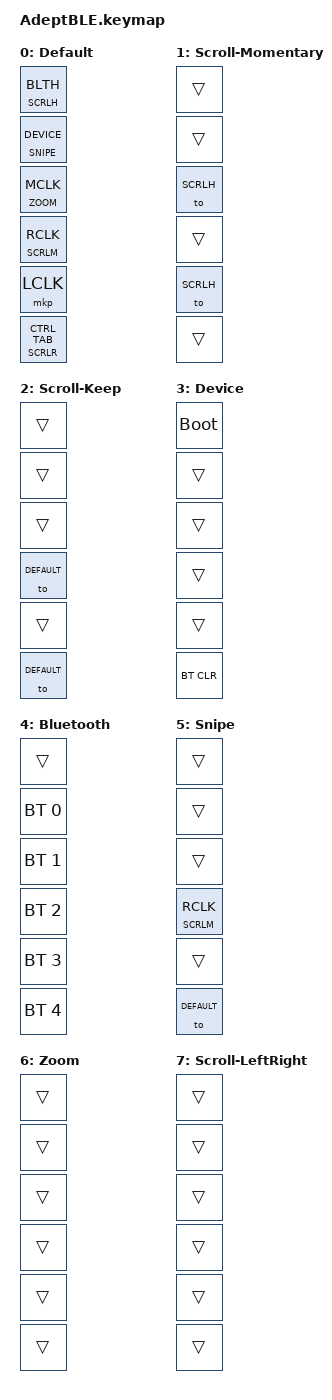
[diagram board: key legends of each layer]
#include <behaviors.dtsi>
#include <dt-bindings/zmk/bt.h>
#include <dt-bindings/zmk/keys.h>
#include <dt-bindings/zmk/pointing.h>
#include <dt-bindings/zmk/outputs.h>

// #include <dt-bindings/zmk/mouse.h>

#define DEFAULT 0
#define SCRLM 1
#define SCRLH 2
#define DEVICE 3
#define BLTH 4
#define SNIPE 5
#define ZOOM 6
#define SCRLR 7

/ {
  combos {
    compatible = "zmk,combos";
    combo_esc {
      timeout-ms = <50>;
      key-positions = <2 3>;
      bindings = <&mkp RCLK>;
    };
  };
  behaviors {
    ltm: layer-tap-momentary {
      compatible = "zmk,behavior-hold-tap";
      #binding-cells = <2>;
      flavor = "tap-preferred";
      tapping-term-ms = <200>;
      bindings = <&mo>, <&mkp>;
    };
    lth: layer-tap-hold-while-undecided {
      compatible = "zmk,behavior-hold-tap";
      #binding-cells = <2>;
      flavor = "hold-preferred";
      hold-while-undecided;
      tapping-term-ms = <150>;
      bindings = <&mo>, <&mkp>;
    };
    mto: momentary-or-toggle {
      compatible = "zmk,behavior-hold-tap";
      #binding-cells = <2>;
      flavor = "hold-preferred";
      hold-while-undecided;
      tapping-term-ms = <200>;
      bindings = <&mo>, <&to>;
    };
  };
  keymap {
    compatible = "zmk,keymap";
    default_layer {
      display-name = "Default";
      bindings = <
        &mto SCRLH BLTH      // Top-left: Tap=Scroll-Hold, Hold=Bluetooth layer
        &mto SNIPE DEVICE    // Top-middle-left: Tap=SNIPE/DPI, Hold=Device layer
        &lth ZOOM MCLK       // Middle-right: Tap=Middle Click, Hold=Zoom layer
        &lth SCRLM RCLK      // Top-right: Tap=Right Click, Hold=Scroll-Momentary
        &mkp LCLK            // Bottom-left: Left Click (normal)
        &lth SCRLR CTRL_TAB  // Bottom-right: Tap=CTRL+TAB, Hold=Scroll Left/Right layer
      >;
    };
    scroll_tap_layer {
      display-name = "Scroll-Momentary";
      bindings = <
        &trans &trans &to SCRLH &trans
        &to SCRLH               &trans
      >;
    };
    scroll_hold_layer {
      display-name = "Scroll-Keep";
      bindings = <
        &trans &trans &trans &to DEFAULT
        &trans               &to DEFAULT
      >;
    };
    device_layer {
      display-name = "Device";
      bindings = <
        &bootloader &trans &trans &trans
        &trans                    &bt BT_CLR
      >;
    };
    bluetooth_layer {
      display-name = "Bluetooth";
      bindings = <
        &trans &bt BT_SEL 0 &bt BT_SEL 1 &bt BT_SEL 2
        &bt BT_SEL 3                     &bt BT_SEL 4
      >;
    };
    snipe_layer {
      display-name = "Snipe";
      bindings = <
        &trans &trans &trans &lth SCRLM RCLK
        &trans               &to DEFAULT
      >;
    };
    zoom_layer {
      display-name = "Zoom";
      bindings = <
        &trans &trans &trans &trans
        &trans &trans
      >;
      // Configure trackball vertical movement for zoom in/out
    };
    scrlr_layer {
      display-name = "Scroll-LeftRight";
      bindings = <
        &trans &trans &trans &trans
        &trans &trans
      >;
      // Configure trackball horizontal movement for left/right scrolling
    };
  };
};



